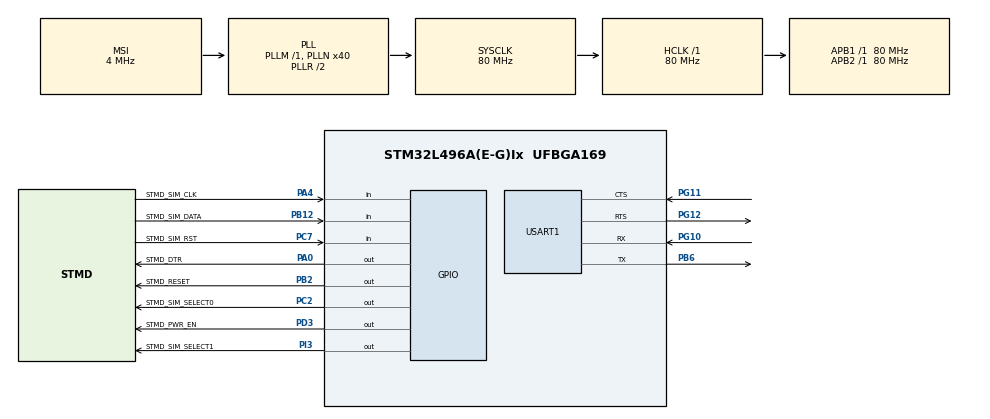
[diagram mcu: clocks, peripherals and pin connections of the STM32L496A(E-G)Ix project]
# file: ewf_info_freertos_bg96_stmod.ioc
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FREERTOS.Tasks01=defaultTask,24,128,StartDefaultTask,Default,NULL,Dynamic,NULL,NULL;myTask,24,512,StartTask,Default,NULL,Static,myTaskBuffer,myTaskControlBlock
FREERTOS.configUSE_NEWLIB_REENTRANT=1
Mcu.Family=STM32L4
Mcu.Name=STM32L496A(E-G)Ix
Mcu.Package=UFBGA169
NVIC.PriorityGroup=NVIC_PRIORITYGROUP_4
NVIC.TIM6_DAC_IRQn=true\:15\:0\:false\:false\:true\:false\:false\:true\:true
NVIC.TimeBase=TIM6_DAC_IRQn
NVIC.TimeBaseIP=TIM6
NVIC.USART1_IRQn=true\:5\:0\:false\:false\:true\:true\:true\:true\:true
PA0.GPIO_Label=STMD_DTR
PA0.Signal=GPIO_Output
PA13\ (JTMS/SWDIO).Signal=SYS_JTMS-SWDIO
PA14\ (JTCK/SWCLK).Signal=SYS_JTCK-SWCLK
PA4.GPIO_Label=STMD_SIM_CLK
PA4.Signal=GPIO_Input
PB12.GPIO_Label=STMD_SIM_DATA
PB12.Signal=GPIO_Input
PB2.GPIO_Label=STMD_RESET
PB2.PinState=GPIO_PIN_SET
PB2.Signal=GPIO_Output
PB3\ (JTDO/TRACESWO).Signal=SYS_JTDO-SWO
PB6.Mode=Asynchronous
PB6.Signal=USART1_TX
PC2.GPIO_Label=STMD_SIM_SELECT0
PC2.GPIO_PuPd=GPIO_PULLDOWN
PC2.Signal=GPIO_Output
PC7.GPIO_Label=STMD_SIM_RST
PC7.Signal=GPIO_Input
PD3.GPIO_Label=STMD_PWR_EN
PD3.GPIO_PuPd=GPIO_NOPULL
PD3.PinState=GPIO_PIN_SET
PD3.Signal=GPIO_Output
PG10.Mode=Asynchronous
PG10.Signal=USART1_RX
PG11.Mode=CTS_RTS
PG11.Signal=USART1_CTS
PG12.Mode=CTS_RTS
PG12.Signal=USART1_RTS
PI3.GPIO_Label=STMD_SIM_SELECT1
PI3.GPIO_PuPd=GPIO_PULLDOWN
PI3.Signal=GPIO_Output
ProjectManager.HeapSize=0x200
ProjectManager.StackSize=0x400
ProjectManager.TargetToolchain=STM32CubeIDE
RCC.ADCFreq_Value=40000000
RCC.AHBFreq_Value=80000000
RCC.APB1Freq_Value=80000000
RCC.APB1TimFreq_Value=80000000
RCC.APB2Freq_Value=80000000
RCC.APB2TimFreq_Value=80000000
RCC.CortexFreq_Value=80000000
RCC.HCLKFreq_Value=80000000
RCC.HSE_VALUE=8000000
RCC.HSI48_VALUE=48000000
RCC.HSI_VALUE=16000000
RCC.LSE_VALUE=32768
RCC.MSI_VALUE=4000000
RCC.PLLN=40
RCC.PLLSAI1N=20
RCC.SYSCLKFreq_VALUE=80000000
RCC.SYSCLKSource=RCC_SYSCLKSOURCE_PLLCLK
RCC.USBFreq_Value=40000000
RCC.VCOOutputFreq_Value=160000000
USART1.VirtualMode-Asynchronous=VM_ASYNC
VP_FREERTOS_VS_CMSIS_V2.Mode=CMSIS_V2
VP_SYS_VS_tim6.Mode=TIM6
board=STM32L496G-DISCO

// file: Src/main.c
/* USER CODE BEGIN Header */
/**
  ******************************************************************************
  * @file           : main.c
  * @brief          : Main program body
  ******************************************************************************
  * @attention
  *
  * Copyright (c) 2022 STMicroelectronics.
  * All rights reserved.
  *
  * This software is licensed under terms that can be found in the LICENSE file
  * in the root directory of this software component.
  * If no LICENSE file comes with this software, it is provided AS-IS.
  *
  ******************************************************************************
  */
/* USER CODE END Header */
#include "main.h"
#include "cmsis_os.h"

/* USER CODE BEGIN Includes */

#include <stdio.h>

#include "ewf_lib.c"
#include "ewf_platform_freertos.c"
#include "ewf_allocator.c"
#include "ewf_allocator_memory_pool.c"
#include "ewf_interface.c"
#include "ewf_interface_stm32_uart.c"
#include "ewf_adapter.c"
#include "ewf_adapter_api_control.c"
#include "ewf_adapter_api_info.c"
#include "ewf_adapter_api_tls_basic.c"
#include "ewf_adapter_api_mqtt_basic.c"
#include "ewf_adapter_api_tcp.c"
#include "ewf_adapter_api_udp.c"
#include "ewf_adapter_api_modem.c"
#include "ewf_adapter_api_modem_general.c"
#include "ewf_adapter_api_modem_network_service.c"
#include "ewf_adapter_api_modem_packet_domain.c"
#include "ewf_adapter_api_modem_sim_utility.c"
#include "ewf_adapter_api_modem_sms.c"
#include "ewf_adapter_quectel_bg96.c"
#include "ewf_example.config.h"

/* USER CODE END Includes */

typedef StaticTask_t osStaticThreadDef_t;
/* USER CODE BEGIN PTD */
#if defined ( __GNUC__) && !defined(__clang__)
/* With GCC, small printf (option LD Linker->Libraries->Small printf
   set to 'Yes') calls __io_putchar() */
#define PUTCHAR_PROTOTYPE int __io_putchar(int ch)
#else
#define PUTCHAR_PROTOTYPE int fputc(int ch, FILE *f)
#endif /* __GNUC__ */

/* USER CODE END PTD */

UART_HandleTypeDef huart1;

/* Definitions for defaultTask */
osThreadId_t defaultTaskHandle;
const osThreadAttr_t defaultTask_attributes = {
  .name = "defaultTask",
  .stack_size = 128 * 4,
  .priority = (osPriority_t) osPriorityNormal,
};
/* Definitions for myTask */
osThreadId_t myTaskHandle;
uint32_t myTaskBuffer[ 512 ];
osStaticThreadDef_t myTaskControlBlock;
const osThreadAttr_t myTask_attributes = {
  .name = "myTask",
  .cb_mem = &myTaskControlBlock,
  .cb_size = sizeof(myTaskControlBlock),
  .stack_mem = &myTaskBuffer[0],
  .stack_size = sizeof(myTaskBuffer),
  .priority = (osPriority_t) osPriorityNormal,
};

void SystemClock_Config(void);
static void MX_GPIO_Init(void);
static void MX_USART1_UART_Init(void);
void StartDefaultTask(void *argument);
void StartTask(void *argument);

/* USER CODE BEGIN 0 */

/**
* @brief  Retargets the C library printf function to the USART.
* @param  None
* @retval None
*/
PUTCHAR_PROTOTYPE
{
    /* Place your implementation of fputc here */
    /* e.g. write a character to the USART1 and Loop until the end of transmission */
    ITM_SendChar(ch);
    return ch;
}

void ewf_adapter_quectel_bg96_stmod_power_on()
{
    EWF_LOG("\n\nStarting the STMod+ BG96 modem...\n");

    /* Clear the reset pin */
	HAL_GPIO_WritePin(STMD_RESET_GPIO_Port, STMD_RESET_Pin, GPIO_PIN_RESET);

    /* Select the plastic SIM */
    HAL_GPIO_WritePin(STMD_SIM_SELECT0_GPIO_Port, STMD_SIM_SELECT0_Pin, GPIO_PIN_RESET);

    /* Turn OFF the module to power cycle it */
    HAL_GPIO_WritePin(STMD_PWR_EN_GPIO_Port, STMD_PWR_EN_Pin, GPIO_PIN_RESET);

    /* Wait for one second */
    ewf_platform_sleep(EWF_PLATFORM_TICKS_PER_SECOND * 1);

    /* Power ON */
    HAL_GPIO_WritePin(STMD_PWR_EN_GPIO_Port, STMD_PWR_EN_Pin, GPIO_PIN_SET);

    /* Wait for the modem to reach ready state  */
    ewf_platform_sleep(EWF_PLATFORM_TICKS_PER_SECOND * 7);

    /* Initialize the UART */
    MX_USART1_UART_Init();

    EWF_LOG("Ready!\n");
}

/* USER CODE END 0 */

int main(void)
{

  /* MCU Configuration--------------------------------------------------------*/

  /* Reset of all peripherals, Initializes the Flash interface and the Systick. */
  HAL_Init();

  /* Configure the system clock */
  SystemClock_Config();

  /* Initialize all configured peripherals */
  MX_GPIO_Init();

  /* Init scheduler */
  osKernelInitialize();

  /* Create the thread(s) */
  /* creation of defaultTask */
  defaultTaskHandle = osThreadNew(StartDefaultTask, NULL, &defaultTask_attributes);

  /* creation of myTask */
  myTaskHandle = osThreadNew(StartTask, NULL, &myTask_attributes);

  /* Start scheduler */
  osKernelStart();

  /* We should never get here as control is now taken by the scheduler */
  /* Infinite loop */
  while (1)
  {

  }
}

void SystemClock_Config(void)
{
  RCC_OscInitTypeDef RCC_OscInitStruct = {0};
  RCC_ClkInitTypeDef RCC_ClkInitStruct = {0};

  /** Configure the main internal regulator output voltage
  */
  if (HAL_PWREx_ControlVoltageScaling(PWR_REGULATOR_VOLTAGE_SCALE1) != HAL_OK)
  {
    Error_Handler();
  }

  /** Initializes the RCC Oscillators according to the specified parameters
  * in the RCC_OscInitTypeDef structure.
  */
  RCC_OscInitStruct.OscillatorType = RCC_OSCILLATORTYPE_MSI;
  RCC_OscInitStruct.MSIState = RCC_MSI_ON;
  RCC_OscInitStruct.MSICalibrationValue = 0;
  RCC_OscInitStruct.MSIClockRange = RCC_MSIRANGE_6;
  RCC_OscInitStruct.PLL.PLLState = RCC_PLL_ON;
  RCC_OscInitStruct.PLL.PLLSource = RCC_PLLSOURCE_MSI;
  RCC_OscInitStruct.PLL.PLLM = 1;
  RCC_OscInitStruct.PLL.PLLN = 40;
  RCC_OscInitStruct.PLL.PLLP = RCC_PLLP_DIV2;
  RCC_OscInitStruct.PLL.PLLQ = RCC_PLLQ_DIV2;
  RCC_OscInitStruct.PLL.PLLR = RCC_PLLR_DIV2;
  if (HAL_RCC_OscConfig(&RCC_OscInitStruct) != HAL_OK)
  {
    Error_Handler();
  }

  /** Initializes the CPU, AHB and APB buses clocks
  */
  RCC_ClkInitStruct.ClockType = RCC_CLOCKTYPE_HCLK|RCC_CLOCKTYPE_SYSCLK
                              |RCC_CLOCKTYPE_PCLK1|RCC_CLOCKTYPE_PCLK2;
  RCC_ClkInitStruct.SYSCLKSource = RCC_SYSCLKSOURCE_PLLCLK;
  RCC_ClkInitStruct.AHBCLKDivider = RCC_SYSCLK_DIV1;
  RCC_ClkInitStruct.APB1CLKDivider = RCC_HCLK_DIV1;
  RCC_ClkInitStruct.APB2CLKDivider = RCC_HCLK_DIV1;

  if (HAL_RCC_ClockConfig(&RCC_ClkInitStruct, FLASH_LATENCY_4) != HAL_OK)
  {
    Error_Handler();
  }
}

static void MX_USART1_UART_Init(void)
{

  huart1.Instance = USART1;
  huart1.Init.BaudRate = 115200;
  huart1.Init.WordLength = UART_WORDLENGTH_8B;
  huart1.Init.StopBits = UART_STOPBITS_1;
  huart1.Init.Parity = UART_PARITY_NONE;
  huart1.Init.Mode = UART_MODE_TX_RX;
  huart1.Init.HwFlowCtl = UART_HWCONTROL_RTS_CTS;
  huart1.Init.OverSampling = UART_OVERSAMPLING_16;
  huart1.Init.OneBitSampling = UART_ONE_BIT_SAMPLE_DISABLE;
  huart1.AdvancedInit.AdvFeatureInit = UART_ADVFEATURE_NO_INIT;
  if (HAL_UART_Init(&huart1) != HAL_OK)
  {
    Error_Handler();
  }

}

static void MX_GPIO_Init(void)
{
  GPIO_InitTypeDef GPIO_InitStruct = {0};

  /* GPIO Ports Clock Enable */
  __HAL_RCC_GPIOB_CLK_ENABLE();
  __HAL_RCC_GPIOA_CLK_ENABLE();
  __HAL_RCC_GPIOI_CLK_ENABLE();
  __HAL_RCC_GPIOG_CLK_ENABLE();
  HAL_PWREx_EnableVddIO2();
  __HAL_RCC_GPIOD_CLK_ENABLE();
  __HAL_RCC_GPIOC_CLK_ENABLE();

  /*Configure GPIO pin Output Level */
  HAL_GPIO_WritePin(STMD_SIM_SELECT1_GPIO_Port, STMD_SIM_SELECT1_Pin, GPIO_PIN_RESET);

  /*Configure GPIO pin Output Level */
  HAL_GPIO_WritePin(STMD_PWR_EN_GPIO_Port, STMD_PWR_EN_Pin, GPIO_PIN_SET);

  /*Configure GPIO pin Output Level */
  HAL_GPIO_WritePin(STMD_SIM_SELECT0_GPIO_Port, STMD_SIM_SELECT0_Pin, GPIO_PIN_RESET);

  /*Configure GPIO pin Output Level */
  HAL_GPIO_WritePin(STMD_DTR_GPIO_Port, STMD_DTR_Pin, GPIO_PIN_RESET);

  /*Configure GPIO pin Output Level */
  HAL_GPIO_WritePin(STMD_RESET_GPIO_Port, STMD_RESET_Pin, GPIO_PIN_SET);

  /*Configure GPIO pin : STMD_SIM_SELECT1_Pin */
  GPIO_InitStruct.Pin = STMD_SIM_SELECT1_Pin;
  GPIO_InitStruct.Mode = GPIO_MODE_OUTPUT_PP;
  GPIO_InitStruct.Pull = GPIO_PULLDOWN;
  GPIO_InitStruct.Speed = GPIO_SPEED_FREQ_LOW;
  HAL_GPIO_Init(STMD_SIM_SELECT1_GPIO_Port, &GPIO_InitStruct);

  /*Configure GPIO pin : STMD_PWR_EN_Pin */
  GPIO_InitStruct.Pin = STMD_PWR_EN_Pin;
  GPIO_InitStruct.Mode = GPIO_MODE_OUTPUT_PP;
  GPIO_InitStruct.Pull = GPIO_NOPULL;
  GPIO_InitStruct.Speed = GPIO_SPEED_FREQ_LOW;
  HAL_GPIO_Init(STMD_PWR_EN_GPIO_Port, &GPIO_InitStruct);

  /*Configure GPIO pin : STMD_SIM_RST_Pin */
  GPIO_InitStruct.Pin = STMD_SIM_RST_Pin;
  GPIO_InitStruct.Mode = GPIO_MODE_INPUT;
  GPIO_InitStruct.Pull = GPIO_NOPULL;
  HAL_GPIO_Init(STMD_SIM_RST_GPIO_Port, &GPIO_InitStruct);

  /*Configure GPIO pin : STMD_SIM_SELECT0_Pin */
  GPIO_InitStruct.Pin = STMD_SIM_SELECT0_Pin;
  GPIO_InitStruct.Mode = GPIO_MODE_OUTPUT_PP;
  GPIO_InitStruct.Pull = GPIO_PULLDOWN;
  GPIO_InitStruct.Speed = GPIO_SPEED_FREQ_LOW;
  HAL_GPIO_Init(STMD_SIM_SELECT0_GPIO_Port, &GPIO_InitStruct);

  /*Configure GPIO pin : STMD_DTR_Pin */
  GPIO_InitStruct.Pin = STMD_DTR_Pin;
  GPIO_InitStruct.Mode = GPIO_MODE_OUTPUT_PP;
  GPIO_InitStruct.Pull = GPIO_NOPULL;
  GPIO_InitStruct.Speed = GPIO_SPEED_FREQ_LOW;
  HAL_GPIO_Init(STMD_DTR_GPIO_Port, &GPIO_InitStruct);

  /*Configure GPIO pin : STMD_SIM_CLK_Pin */
  GPIO_InitStruct.Pin = STMD_SIM_CLK_Pin;
  GPIO_InitStruct.Mode = GPIO_MODE_INPUT;
  GPIO_InitStruct.Pull = GPIO_NOPULL;
  HAL_GPIO_Init(STMD_SIM_CLK_GPIO_Port, &GPIO_InitStruct);

  /*Configure GPIO pin : STMD_RESET_Pin */
  GPIO_InitStruct.Pin = STMD_RESET_Pin;
  GPIO_InitStruct.Mode = GPIO_MODE_OUTPUT_PP;
  GPIO_InitStruct.Pull = GPIO_NOPULL;
  GPIO_InitStruct.Speed = GPIO_SPEED_FREQ_LOW;
  HAL_GPIO_Init(STMD_RESET_GPIO_Port, &GPIO_InitStruct);

  /*Configure GPIO pin : STMD_SIM_DATA_Pin */
  GPIO_InitStruct.Pin = STMD_SIM_DATA_Pin;
  GPIO_InitStruct.Mode = GPIO_MODE_INPUT;
  GPIO_InitStruct.Pull = GPIO_NOPULL;
  HAL_GPIO_Init(STMD_SIM_DATA_GPIO_Port, &GPIO_InitStruct);

}

void StartDefaultTask(void *argument)
{
  for(;;)
  {
    osDelay(1);
  }
}

void StartTask(void *argument)
{
  /* USER CODE BEGIN StartTask */
	ewf_result result;

	ewf_allocator* message_allocator_ptr = NULL;
	ewf_interface* interface_ptr = NULL;
	ewf_adapter* adapter_ptr = NULL;

	EWF_ALLOCATOR_MEMORY_POOL_STATIC_DECLARE(message_allocator_ptr, message_allocator, 4, 1024);
	EWF_INTERFACE_STM32_UART_STATIC_DECLARE(interface_ptr, stm32_uart_port, &huart1);
	EWF_ADAPTER_QUECTEL_BG96_STATIC_DECLARE(adapter_ptr, quectel_bg96, message_allocator_ptr, NULL, interface_ptr);

	/* Power on the STMOD+ BG96 modem and select plastic SIM interface */
	ewf_adapter_quectel_bg96_stmod_power_on();

	/* Start the adapter.  */
	if (ewf_result_failed(result = ewf_adapter_start(adapter_ptr)))
	{
		EWF_LOG_ERROR("Failed to start the adapter, ewf_result %d.\n", result);
		exit(result);
	}

	// Set the SIM PIN
	if (ewf_result_failed(result = ewf_adapter_modem_sim_pin_enter(adapter_ptr, EWF_CONFIG_SIM_PIN)))
	{
		EWF_LOG_ERROR("Failed to the SIM PIN, ewf_result %d.\n", result);
		exit(result);
	}

	// Set the ME functionality
	if (ewf_result_failed(result = ewf_adapter_modem_functionality_set(adapter_ptr, "1")))
	{
		EWF_LOG_ERROR("Failed to the ME functionality, ewf_result %d.\n", result);
		exit(result);
	}

	/* Run the adapter tests.  */
	if (ewf_result_failed(result = ewf_adapter_info(adapter_ptr)))
	{
		EWF_LOG_ERROR("Failed to run the adapter test, ewf_result %d.\n", result);
	}

	EWF_LOG("\nDone!\n");

	/* Stay here forever.  */
	while (1)
	{
		EWF_LOG(".");
		vTaskDelay(pdMS_TO_TICKS(1000UL));
	}
  /* USER CODE END StartTask */
}

void HAL_TIM_PeriodElapsedCallback(TIM_HandleTypeDef *htim)
{
  if (htim->Instance == TIM6) {
    HAL_IncTick();
  }
}

void Error_Handler(void)
{
  __disable_irq();
  while (1)
  {
  }
}
